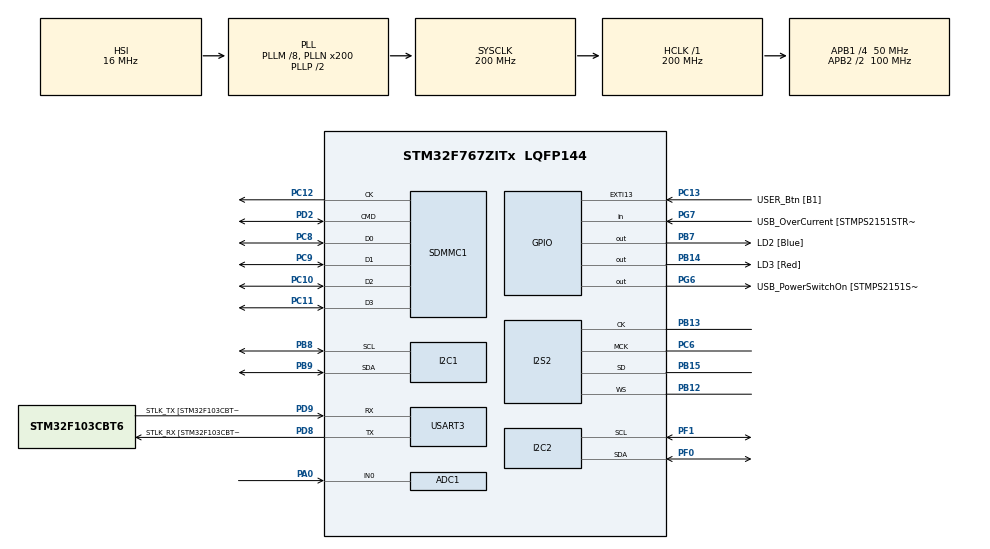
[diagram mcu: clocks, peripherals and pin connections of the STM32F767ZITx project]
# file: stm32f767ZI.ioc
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ADC1.Channel-0\#ChannelRegularConversion=ADC_CHANNEL_0
ADC1.DiscontinuousConvMode=ENABLE
ADC1.NbrOfConversionFlag=1
ADC1.Rank-0\#ChannelRegularConversion=1
ADC1.SamplingTime-0\#ChannelRegularConversion=ADC_SAMPLETIME_3CYCLES
ADC1.master=1
Dma.Request0=SPI2_TX
Dma.Request1=SDMMC1_RX
Dma.Request2=SDMMC1_TX
Dma.SDMMC1_RX.1.Direction=DMA_PERIPH_TO_MEMORY
Dma.SDMMC1_RX.1.FIFOMode=DMA_FIFOMODE_ENABLE
Dma.SDMMC1_RX.1.FIFOThreshold=DMA_FIFO_THRESHOLD_FULL
Dma.SDMMC1_RX.1.Instance=DMA2_Stream3
Dma.SDMMC1_RX.1.MemBurst=DMA_MBURST_INC4
Dma.SDMMC1_RX.1.MemDataAlignment=DMA_MDATAALIGN_WORD
Dma.SDMMC1_RX.1.MemInc=DMA_MINC_ENABLE
Dma.SDMMC1_RX.1.Mode=DMA_PFCTRL
Dma.SDMMC1_RX.1.PeriphBurst=DMA_PBURST_INC4
Dma.SDMMC1_RX.1.PeriphDataAlignment=DMA_PDATAALIGN_WORD
Dma.SDMMC1_RX.1.PeriphInc=DMA_PINC_DISABLE
Dma.SDMMC1_RX.1.Priority=DMA_PRIORITY_LOW
Dma.SDMMC1_TX.2.Direction=DMA_MEMORY_TO_PERIPH
Dma.SDMMC1_TX.2.FIFOMode=DMA_FIFOMODE_ENABLE
Dma.SDMMC1_TX.2.FIFOThreshold=DMA_FIFO_THRESHOLD_FULL
Dma.SDMMC1_TX.2.Instance=DMA2_Stream6
Dma.SDMMC1_TX.2.MemBurst=DMA_MBURST_INC4
Dma.SDMMC1_TX.2.MemDataAlignment=DMA_MDATAALIGN_WORD
Dma.SDMMC1_TX.2.MemInc=DMA_MINC_ENABLE
Dma.SDMMC1_TX.2.Mode=DMA_PFCTRL
Dma.SDMMC1_TX.2.PeriphBurst=DMA_PBURST_INC4
Dma.SDMMC1_TX.2.PeriphDataAlignment=DMA_PDATAALIGN_WORD
Dma.SDMMC1_TX.2.PeriphInc=DMA_PINC_DISABLE
Dma.SDMMC1_TX.2.Priority=DMA_PRIORITY_LOW
Dma.SPI2_TX.0.Direction=DMA_MEMORY_TO_PERIPH
Dma.SPI2_TX.0.FIFOMode=DMA_FIFOMODE_DISABLE
Dma.SPI2_TX.0.Instance=DMA1_Stream4
Dma.SPI2_TX.0.MemDataAlignment=DMA_MDATAALIGN_HALFWORD
Dma.SPI2_TX.0.MemInc=DMA_MINC_ENABLE
Dma.SPI2_TX.0.Mode=DMA_CIRCULAR
Dma.SPI2_TX.0.PeriphDataAlignment=DMA_PDATAALIGN_HALFWORD
Dma.SPI2_TX.0.PeriphInc=DMA_PINC_DISABLE
Dma.SPI2_TX.0.Priority=DMA_PRIORITY_LOW
FATFS._FS_LOCK=0
I2C1.Timing=0x00C0EAFF
I2C2.Timing=0x00C0EAFF
I2S2.AudioFreq=I2S_AUDIOFREQ_44K
I2S2.ErrorAudioFreq=-5.3 %
I2S2.FullDuplexMode=I2S_FULLDUPLEXMODE_DISABLE
I2S2.Instance=SPI$Index
I2S2.RealAudioFreq=41.666 KHz
I2S2.VirtualMode=I2S_MODE_MASTER
Mcu.Family=STM32F7
Mcu.Name=STM32F767ZITx
Mcu.Package=LQFP144
NVIC.DMA1_Stream4_IRQn=true\:0\:0\:false\:false\:true\:false
NVIC.DMA2_Stream3_IRQn=true\:0\:0\:false\:false\:true\:false
NVIC.DMA2_Stream6_IRQn=true\:0\:0\:false\:false\:true\:false
NVIC.PriorityGroup=NVIC_PRIORITYGROUP_4
NVIC.RCC_IRQn=true\:0\:0\:false\:false\:true\:true
NVIC.SDMMC1_IRQn=true\:0\:0\:false\:false\:true\:true
PA0/WKUP.Signal=ADCx_IN0
PA1.GPIO_Label=RMII_REF_CLK [LAN8742A-CZ-TR_REFCLK0]
PA1.Signal=ETH_REF_CLK
PA10.GPIO_Label=USB_ID
PA10.Signal=USB_OTG_FS_ID
PA11.GPIO_Label=USB_DM
PA11.Signal=USB_OTG_FS_DM
PA12.GPIO_Label=USB_DP
PA12.Signal=USB_OTG_FS_DP
PA13.GPIO_Label=TMS
PA13.Signal=SYS_JTMS-SWDIO
PA14.GPIO_Label=TCK
PA14.Signal=SYS_JTCK-SWCLK
PA2.GPIO_Label=RMII_MDIO [LAN8742A-CZ-TR_MDIO]
PA2.Signal=ETH_MDIO
PA7.GPIO_Label=RMII_CRS_DV [LAN8742A-CZ-TR_CRS_DV]
PA7.Signal=ETH_CRS_DV
PA8.GPIO_Label=USB_SOF [TP1]
PA8.Signal=USB_OTG_FS_SOF
PA9.GPIO_Label=USB_VBUS
PA9.Signal=USB_OTG_FS_VBUS
PB12.Mode=Half_Duplex_Master
PB12.Signal=I2S2_WS
PB13.Mode=Half_Duplex_Master
PB13.Signal=I2S2_CK
PB14.GPIO_Label=LD3 [Red]
PB14.Signal=GPIO_Output
PB15.Mode=Half_Duplex_Master
PB15.Signal=I2S2_SD
PB3.GPIO_Label=SW0
PB3.Signal=SYS_JTDO-SWO
PB7.GPIO_Label=LD2 [Blue]
PB7.Signal=GPIO_Output
PB8.Mode=I2C
PB8.Signal=I2C1_SCL
PB9.Mode=I2C
PB9.Signal=I2C1_SDA
PC1.GPIO_Label=RMII_MDC [LAN8742A-CZ-TR_MDC]
PC1.Signal=ETH_MDC
PC10.GPIO_PuPd=GPIO_PULLUP
PC10.Mode=SD_4_bits_Wide_bus
PC10.Signal=SDMMC1_D2
PC11.GPIO_PuPd=GPIO_PULLUP
PC11.Mode=SD_4_bits_Wide_bus
PC11.Signal=SDMMC1_D3
PC12.Mode=SD_4_bits_Wide_bus
PC12.Signal=SDMMC1_CK
PC13.GPIO_Label=USER_Btn [B1]
PC13.Signal=GPXTI13
PC14/OSC32_IN.Signal=RCC_OSC32_IN
PC15/OSC32_OUT.Signal=RCC_OSC32_OUT
PC4.GPIO_Label=RMII_RXD0 [LAN8742A-CZ-TR_RXD0]
PC4.Signal=ETH_RXD0
PC5.GPIO_Label=RMII_RXD1 [LAN8742A-CZ-TR_RXD1]
PC5.Signal=ETH_RXD1
PC6.Mode=Master_Clock_Activated
PC6.Signal=I2S2_MCK
PC8.GPIO_PuPd=GPIO_PULLUP
PC8.Mode=SD_4_bits_Wide_bus
PC8.Signal=SDMMC1_D0
PC9.GPIO_PuPd=GPIO_PULLUP
PC9.Mode=SD_4_bits_Wide_bus
PC9.Signal=SDMMC1_D1
PD2.GPIO_PuPd=GPIO_PULLUP
PD2.Mode=SD_4_bits_Wide_bus
PD2.Signal=SDMMC1_CMD
PD8.GPIO_Label=STLK_RX [STM32F103CBT6_PA3]
PD8.Mode=Asynchronous
PD8.Signal=USART3_TX
PD9.GPIO_Label=STLK_TX [STM32F103CBT6_PA2]
PD9.Mode=Asynchronous
PD9.Signal=USART3_RX
PF0.Mode=I2C
PF0.Signal=I2C2_SDA
PF1.Mode=I2C
PF1.Signal=I2C2_SCL
PG11.GPIO_Label=RMII_TX_EN [LAN8742A-CZ-TR_TXEN]
PG11.Signal=ETH_TX_EN
PG13.GPIO_Label=RMII_TXD0 [LAN8742A-CZ-TR_TXD0]
PG13.Signal=ETH_TXD0
PG6.GPIO_Label=USB_PowerSwitchOn [STMPS2151STR_EN]
PG6.Signal=GPIO_Output
PG7.GPIO_Label=USB_OverCurrent [STMPS2151STR_FAULT]
PG7.Signal=GPIO_Input
PH0/OSC_IN.GPIO_Label=MCO [STM32F103CBT6_PA8]
PH0/OSC_IN.Signal=RCC_OSC_IN
PH1/OSC_OUT.Signal=RCC_OSC_OUT
ProjectManager.HeapSize=0x8000
ProjectManager.StackSize=0x12000
ProjectManager.TargetToolchain=MDK-ARM V5
RCC.48MHZClocksFreq_Value=24000000
RCC.AHBFreq_Value=200000000
RCC.APB1CLKDivider=RCC_HCLK_DIV4
RCC.APB1Freq_Value=50000000
RCC.APB1TimFreq_Value=100000000
RCC.APB2CLKDivider=RCC_HCLK_DIV2
RCC.APB2Freq_Value=100000000
RCC.APB2TimFreq_Value=200000000
RCC.CortexFreq_Value=200000000
RCC.HCLKFreq_Value=200000000
RCC.HSE_VALUE=16000000
RCC.HSI_VALUE=16000000
RCC.LSE_VALUE=32768
RCC.PLLI2SN=96
RCC.PLLM=8
RCC.PLLMUL=RCC_PLL_MUL9
RCC.PLLN=200
RCC.PLLQ=10
RCC.PRESCALERUSB=RCC_USBCLKSOURCE_PLL_DIV1_5
RCC.SDMMCClockSelection=RCC_SDMMC1CLKSOURCE_CLK48
RCC.SYSCLKFreq_VALUE=200000000
RCC.SYSCLKSource=RCC_SYSCLKSOURCE_PLLCLK
RCC.SYSCLKSourceVirtual=RCC_SYSCLKSOURCE_PLLCLK
RCC.USBFreq_Value=40000000
RCC.VCOOutputFreq_Value=400000000
SH.ADCx_IN0.0=ADC1_IN0,IN0
USART3.VirtualMode-Asynchronous=VM_ASYNC
USART3.WordLength=WORDLENGTH_8B
VP_FATFS_VS_SDIO.Mode=SDIO
board=NUCLEO-F767ZI

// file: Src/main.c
/**
  ******************************************************************************
  * @file           : main.c
  * @brief          : Main program body
  ******************************************************************************
  * This notice applies to any and all portions of this file
  * that are not between comment pairs USER CODE BEGIN and
  * USER CODE END. Other portions of this file, whether
  * inserted by the user or by software development tools
  * are owned by their respective copyright owners.
  *
  * Copyright (c) 2018 STMicroelectronics International N.V.
  * All rights reserved.
  *
  * Redistribution and use in source and binary forms, with or without
  * modification, are permitted, provided that the following conditions are met:
  *
  * 1. Redistribution of source code must retain the above copyright notice,
  *    this list of conditions and the following disclaimer.
  * 2. Redistributions in binary form must reproduce the above copyright notice,
  *    this list of conditions and the following disclaimer in the documentation
  *    and/or other materials provided with the distribution.
  * 3. Neither the name of STMicroelectronics nor the names of other
  *    contributors to this software may be used to endorse or promote products
  *    derived from this software without specific written permission.
  * 4. This software, including modifications and/or derivative works of this
  *    software, must execute solely and exclusively on microcontroller or
  *    microprocessor devices manufactured by or for STMicroelectronics.
  * 5. Redistribution and use of this software other than as permitted under
  *    this license is void and will automatically terminate your rights under
  *    this license.
  *
  * THIS SOFTWARE IS PROVIDED BY STMICROELECTRONICS AND CONTRIBUTORS "AS IS"
  * AND ANY EXPRESS, IMPLIED OR STATUTORY WARRANTIES, INCLUDING, BUT NOT
  * LIMITED TO, THE IMPLIED WARRANTIES OF MERCHANTABILITY, FITNESS FOR A
  * PARTICULAR PURPOSE AND NON-INFRINGEMENT OF THIRD PARTY INTELLECTUAL PROPERTY
  * RIGHTS ARE DISCLAIMED TO THE FULLEST EXTENT PERMITTED BY LAW. IN NO EVENT
  * SHALL STMICROELECTRONICS OR CONTRIBUTORS BE LIABLE FOR ANY DIRECT, INDIRECT,
  * INCIDENTAL, SPECIAL, EXEMPLARY, OR CONSEQUENTIAL DAMAGES (INCLUDING, BUT NOT
  * LIMITED TO, PROCUREMENT OF SUBSTITUTE GOODS OR SERVICES; LOSS OF USE, DATA,
  * OR PROFITS; OR BUSINESS INTERRUPTION) HOWEVER CAUSED AND ON ANY THEORY OF
  * LIABILITY, WHETHER IN CONTRACT, STRICT LIABILITY, OR TORT (INCLUDING
  * NEGLIGENCE OR OTHERWISE) ARISING IN ANY WAY OUT OF THE USE OF THIS SOFTWARE,
  * EVEN IF ADVISED OF THE POSSIBILITY OF SUCH DAMAGE.
  *
  ******************************************************************************
  */
#include "main.h"
#include "stm32f7xx_hal.h"
#include "fatfs.h"

/* USER CODE BEGIN Includes */

//#define SD_TEST

#include "string.h"
#include "wm8978.h"
#include "mpr121.h"
#include "stdbool.h"
#include "stdint.h"
#include "wave_genout.h"
#ifdef SD_TEST
#include "SDTest.h"
#endif

/* USER CODE END Includes */

ADC_HandleTypeDef hadc1;

I2C_HandleTypeDef hi2c1;
I2C_HandleTypeDef hi2c2;

I2S_HandleTypeDef hi2s2;
DMA_HandleTypeDef hdma_spi2_tx;

SD_HandleTypeDef hsd1;
DMA_HandleTypeDef hdma_sdmmc1_rx;
DMA_HandleTypeDef hdma_sdmmc1_tx;

UART_HandleTypeDef huart3;

/* USER CODE BEGIN PV */
/* Private variables ---------------------------------------------------------*/

/* USER CODE END PV */

void SystemClock_Config(void);
static void MX_GPIO_Init(void);
static void MX_DMA_Init(void);
static void MX_I2C1_Init(void);
static void MX_I2C2_Init(void);
static void MX_I2S2_Init(void);
static void MX_SDMMC1_SD_Init(void);
static void MX_USART3_UART_Init(void);
static void MX_ADC1_Init(void);

/* USER CODE BEGIN PFP */
/* Private function prototypes -----------------------------------------------*/

/* USER CODE END PFP */

/* USER CODE BEGIN 0 */

void showInitStatus()
{
	if(initSuccess == 0)
	{
		HAL_GPIO_WritePin(LD2_GPIO_Port, LD2_Pin, GPIO_PIN_RESET);
	}
	else
	{
#ifdef __DEBUG
		printf("Init failed\r\n");
#endif
		while(1);
	}
}

/* USER CODE END 0 */

int main(void)
{

  /* MCU Configuration----------------------------------------------------------*/

  /* Reset of all peripherals, Initializes the Flash interface and the Systick. */
  HAL_Init();

  /* Configure the system clock */
  SystemClock_Config();

  /* Initialize all configured peripherals */
  MX_GPIO_Init();
  MX_DMA_Init();
  MX_I2C1_Init();
  MX_I2C2_Init();
  MX_I2S2_Init();
  MX_SDMMC1_SD_Init();
  MX_FATFS_Init();
  MX_USART3_UART_Init();
  MX_ADC1_Init();
  /* USER CODE BEGIN 2 */
	initSuccess = 0;
	HAL_GPIO_WritePin(LD2_GPIO_Port, LD2_Pin, GPIO_PIN_SET);

#ifdef __DEBUG
  printf("start ----------------> \r\n");
#endif

  HAL_StatusTypeDef res = HAL_I2C_IsDeviceReady(&hi2c1, (WM8978_ADDR<<1), 2, 1000);
  if(res != HAL_OK)
  {
#ifdef __DEBUG
    printf("I2C did not ready[%d]!\r\n", res);
#endif
		initSuccess = 1;
  }
  else
  {
#ifdef __DEBUG
    printf("I2C device ready ok[%X]\r\n", WM8978_ADDR);
#endif
  }

  UINT r1 = WM8978_Init();

   if(r1 != 0){
		 initSuccess = 1;
#ifdef __DEBUG
		 printf("WM8978_Init failed:%d\r\n",r1);
#endif
	 }

  mpr121_init();
  //TestMpr121();

	if(retSD == 0){
/* success: set the orange LED on */
#ifdef __DEBUG
		printf("MX_FATFS_Init OK\r\n");
#endif
/*##-2- Register the file system object to the FatFs module ###*/
		if(f_mount(&SDFatFS, (TCHAR const*)SDPath, 0) != FR_OK)
		{
/* FatFs Initialization Error : set the red LED on */
#ifdef __DEBUG
			printf("f_mount failed\r\n");
#endif
			initSuccess = 1;
			while(1);
		}

	} else {
#ifdef __DEBUG
		printf("MX_FATFS_Init failed\r\n");
#endif
		initSuccess = 1;
	}

#ifdef SD_TEST
#ifdef __DEBUG
	printf("SD Test  with file START\r\n");
#endif
	SDTestStart();
#ifdef __DEBUG
	printf("SD Test  with file END\r\n");
#endif
	while(1);
#else

	PlayWaveData();
#endif
  /* USER CODE END 2 */

  /* Infinite loop */
  while (1)
  {

  }

}

void SystemClock_Config(void)
{

  RCC_OscInitTypeDef RCC_OscInitStruct;
  RCC_ClkInitTypeDef RCC_ClkInitStruct;
  RCC_PeriphCLKInitTypeDef PeriphClkInitStruct;

    /**Configure the main internal regulator output voltage
    */
  __HAL_RCC_PWR_CLK_ENABLE();

  __HAL_PWR_VOLTAGESCALING_CONFIG(PWR_REGULATOR_VOLTAGE_SCALE1);

    /**Initializes the CPU, AHB and APB busses clocks
    */
  RCC_OscInitStruct.OscillatorType = RCC_OSCILLATORTYPE_HSI;
  RCC_OscInitStruct.HSIState = RCC_HSI_ON;
  RCC_OscInitStruct.HSICalibrationValue = 16;
  RCC_OscInitStruct.PLL.PLLState = RCC_PLL_ON;
  RCC_OscInitStruct.PLL.PLLSource = RCC_PLLSOURCE_HSI;
  RCC_OscInitStruct.PLL.PLLM = 8;
  RCC_OscInitStruct.PLL.PLLN = 200;
  RCC_OscInitStruct.PLL.PLLP = RCC_PLLP_DIV2;
  RCC_OscInitStruct.PLL.PLLQ = 10;
  if (HAL_RCC_OscConfig(&RCC_OscInitStruct) != HAL_OK)
  {
    _Error_Handler(__FILE__, __LINE__);
  }

    /**Activate the Over-Drive mode
    */
  if (HAL_PWREx_EnableOverDrive() != HAL_OK)
  {
    _Error_Handler(__FILE__, __LINE__);
  }

    /**Initializes the CPU, AHB and APB busses clocks
    */
  RCC_ClkInitStruct.ClockType = RCC_CLOCKTYPE_HCLK|RCC_CLOCKTYPE_SYSCLK
                              |RCC_CLOCKTYPE_PCLK1|RCC_CLOCKTYPE_PCLK2;
  RCC_ClkInitStruct.SYSCLKSource = RCC_SYSCLKSOURCE_PLLCLK;
  RCC_ClkInitStruct.AHBCLKDivider = RCC_SYSCLK_DIV1;
  RCC_ClkInitStruct.APB1CLKDivider = RCC_HCLK_DIV4;
  RCC_ClkInitStruct.APB2CLKDivider = RCC_HCLK_DIV2;

  if (HAL_RCC_ClockConfig(&RCC_ClkInitStruct, FLASH_LATENCY_6) != HAL_OK)
  {
    _Error_Handler(__FILE__, __LINE__);
  }

  PeriphClkInitStruct.PeriphClockSelection = RCC_PERIPHCLK_USART3|RCC_PERIPHCLK_I2C1
                              |RCC_PERIPHCLK_I2C2|RCC_PERIPHCLK_SDMMC1
                              |RCC_PERIPHCLK_I2S|RCC_PERIPHCLK_CLK48;
  PeriphClkInitStruct.PLLI2S.PLLI2SN = 96;
  PeriphClkInitStruct.PLLI2S.PLLI2SP = RCC_PLLP_DIV2;
  PeriphClkInitStruct.PLLI2S.PLLI2SR = 2;
  PeriphClkInitStruct.PLLI2S.PLLI2SQ = 2;
  PeriphClkInitStruct.PLLI2SDivQ = 1;
  PeriphClkInitStruct.I2sClockSelection = RCC_I2SCLKSOURCE_PLLI2S;
  PeriphClkInitStruct.Usart3ClockSelection = RCC_USART3CLKSOURCE_PCLK1;
  PeriphClkInitStruct.I2c1ClockSelection = RCC_I2C1CLKSOURCE_PCLK1;
  PeriphClkInitStruct.I2c2ClockSelection = RCC_I2C2CLKSOURCE_PCLK1;
  PeriphClkInitStruct.Clk48ClockSelection = RCC_CLK48SOURCE_PLL;
  PeriphClkInitStruct.Sdmmc1ClockSelection = RCC_SDMMC1CLKSOURCE_CLK48;
  if (HAL_RCCEx_PeriphCLKConfig(&PeriphClkInitStruct) != HAL_OK)
  {
    _Error_Handler(__FILE__, __LINE__);
  }

    /**Configure the Systick interrupt time
    */
  HAL_SYSTICK_Config(HAL_RCC_GetHCLKFreq()/1000);

    /**Configure the Systick
    */
  HAL_SYSTICK_CLKSourceConfig(SYSTICK_CLKSOURCE_HCLK);

  /* SysTick_IRQn interrupt configuration */
  HAL_NVIC_SetPriority(SysTick_IRQn, 0, 0);
}

/* ADC1 init function */
static void MX_ADC1_Init(void)
{

  ADC_ChannelConfTypeDef sConfig;

    /**Configure the global features of the ADC (Clock, Resolution, Data Alignment and number of conversion)
    */
  hadc1.Instance = ADC1;
  hadc1.Init.ClockPrescaler = ADC_CLOCK_SYNC_PCLK_DIV4;
  hadc1.Init.Resolution = ADC_RESOLUTION_12B;
  hadc1.Init.ScanConvMode = DISABLE;
  hadc1.Init.ContinuousConvMode = DISABLE;
  hadc1.Init.DiscontinuousConvMode = ENABLE;
  hadc1.Init.NbrOfDiscConversion = 1;
  hadc1.Init.ExternalTrigConvEdge = ADC_EXTERNALTRIGCONVEDGE_NONE;
  hadc1.Init.ExternalTrigConv = ADC_SOFTWARE_START;
  hadc1.Init.DataAlign = ADC_DATAALIGN_RIGHT;
  hadc1.Init.NbrOfConversion = 1;
  hadc1.Init.DMAContinuousRequests = DISABLE;
  hadc1.Init.EOCSelection = ADC_EOC_SINGLE_CONV;
  if (HAL_ADC_Init(&hadc1) != HAL_OK)
  {
    _Error_Handler(__FILE__, __LINE__);
  }

    /**Configure for the selected ADC regular channel its corresponding rank in the sequencer and its sample time.
    */
  sConfig.Channel = ADC_CHANNEL_0;
  sConfig.Rank = ADC_REGULAR_RANK_1;
  sConfig.SamplingTime = ADC_SAMPLETIME_3CYCLES;
  if (HAL_ADC_ConfigChannel(&hadc1, &sConfig) != HAL_OK)
  {
    _Error_Handler(__FILE__, __LINE__);
  }

}

/* I2C1 init function */
static void MX_I2C1_Init(void)
{

  hi2c1.Instance = I2C1;
  hi2c1.Init.Timing = 0x00C0EAFF;
  hi2c1.Init.OwnAddress1 = 0;
  hi2c1.Init.AddressingMode = I2C_ADDRESSINGMODE_7BIT;
  hi2c1.Init.DualAddressMode = I2C_DUALADDRESS_DISABLE;
  hi2c1.Init.OwnAddress2 = 0;
  hi2c1.Init.OwnAddress2Masks = I2C_OA2_NOMASK;
  hi2c1.Init.GeneralCallMode = I2C_GENERALCALL_DISABLE;
  hi2c1.Init.NoStretchMode = I2C_NOSTRETCH_DISABLE;
  if (HAL_I2C_Init(&hi2c1) != HAL_OK)
  {
    _Error_Handler(__FILE__, __LINE__);
  }

    /**Configure Analogue filter
    */
  if (HAL_I2CEx_ConfigAnalogFilter(&hi2c1, I2C_ANALOGFILTER_ENABLE) != HAL_OK)
  {
    _Error_Handler(__FILE__, __LINE__);
  }

    /**Configure Digital filter
    */
  if (HAL_I2CEx_ConfigDigitalFilter(&hi2c1, 0) != HAL_OK)
  {
    _Error_Handler(__FILE__, __LINE__);
  }

}

/* I2C2 init function */
static void MX_I2C2_Init(void)
{

  hi2c2.Instance = I2C2;
  hi2c2.Init.Timing = 0x00C0EAFF;
  hi2c2.Init.OwnAddress1 = 0;
  hi2c2.Init.AddressingMode = I2C_ADDRESSINGMODE_7BIT;
  hi2c2.Init.DualAddressMode = I2C_DUALADDRESS_DISABLE;
  hi2c2.Init.OwnAddress2 = 0;
  hi2c2.Init.OwnAddress2Masks = I2C_OA2_NOMASK;
  hi2c2.Init.GeneralCallMode = I2C_GENERALCALL_DISABLE;
  hi2c2.Init.NoStretchMode = I2C_NOSTRETCH_DISABLE;
  if (HAL_I2C_Init(&hi2c2) != HAL_OK)
  {
    _Error_Handler(__FILE__, __LINE__);
  }

    /**Configure Analogue filter
    */
  if (HAL_I2CEx_ConfigAnalogFilter(&hi2c2, I2C_ANALOGFILTER_ENABLE) != HAL_OK)
  {
    _Error_Handler(__FILE__, __LINE__);
  }

    /**Configure Digital filter
    */
  if (HAL_I2CEx_ConfigDigitalFilter(&hi2c2, 0) != HAL_OK)
  {
    _Error_Handler(__FILE__, __LINE__);
  }

}

/* I2S2 init function */
static void MX_I2S2_Init(void)
{

  hi2s2.Instance = SPI2;
  hi2s2.Init.Mode = I2S_MODE_MASTER_TX;
  hi2s2.Init.Standard = I2S_STANDARD_PHILIPS;
  hi2s2.Init.DataFormat = I2S_DATAFORMAT_16B;
  hi2s2.Init.MCLKOutput = I2S_MCLKOUTPUT_ENABLE;
  hi2s2.Init.AudioFreq = I2S_AUDIOFREQ_44K;
  hi2s2.Init.CPOL = I2S_CPOL_LOW;
  hi2s2.Init.ClockSource = I2S_CLOCK_PLL;
  if (HAL_I2S_Init(&hi2s2) != HAL_OK)
  {
    _Error_Handler(__FILE__, __LINE__);
  }

}

/* SDMMC1 init function */
static void MX_SDMMC1_SD_Init(void)
{

  hsd1.Instance = SDMMC1;
  hsd1.Init.ClockEdge = SDMMC_CLOCK_EDGE_RISING;
  hsd1.Init.ClockBypass = SDMMC_CLOCK_BYPASS_DISABLE;
  hsd1.Init.ClockPowerSave = SDMMC_CLOCK_POWER_SAVE_DISABLE;
  hsd1.Init.BusWide = SDMMC_BUS_WIDE_1B;
  hsd1.Init.HardwareFlowControl = SDMMC_HARDWARE_FLOW_CONTROL_DISABLE;
  hsd1.Init.ClockDiv = 0;

}

/* USART3 init function */
static void MX_USART3_UART_Init(void)
{

  huart3.Instance = USART3;
  huart3.Init.BaudRate = 115200;
  huart3.Init.WordLength = UART_WORDLENGTH_8B;
  huart3.Init.StopBits = UART_STOPBITS_1;
  huart3.Init.Parity = UART_PARITY_NONE;
  huart3.Init.Mode = UART_MODE_TX_RX;
  huart3.Init.HwFlowCtl = UART_HWCONTROL_NONE;
  huart3.Init.OverSampling = UART_OVERSAMPLING_16;
  huart3.Init.OneBitSampling = UART_ONE_BIT_SAMPLE_DISABLE;
  huart3.AdvancedInit.AdvFeatureInit = UART_ADVFEATURE_NO_INIT;
  if (HAL_UART_Init(&huart3) != HAL_OK)
  {
    _Error_Handler(__FILE__, __LINE__);
  }

}

static void MX_DMA_Init(void)
{
  /* DMA controller clock enable */
  __HAL_RCC_DMA1_CLK_ENABLE();
  __HAL_RCC_DMA2_CLK_ENABLE();

  /* DMA interrupt init */
  /* DMA1_Stream4_IRQn interrupt configuration */
  HAL_NVIC_SetPriority(DMA1_Stream4_IRQn, 0, 0);
  HAL_NVIC_EnableIRQ(DMA1_Stream4_IRQn);
  /* DMA2_Stream3_IRQn interrupt configuration */
  HAL_NVIC_SetPriority(DMA2_Stream3_IRQn, 0, 0);
  HAL_NVIC_EnableIRQ(DMA2_Stream3_IRQn);
  /* DMA2_Stream6_IRQn interrupt configuration */
  HAL_NVIC_SetPriority(DMA2_Stream6_IRQn, 0, 0);
  HAL_NVIC_EnableIRQ(DMA2_Stream6_IRQn);

}

/** Configure pins as
        * Analog
        * Input
        * Output
        * EVENT_OUT
        * EXTI
     PC1   ------> ETH_MDC
     PA1   ------> ETH_REF_CLK
     PA2   ------> ETH_MDIO
     PA7   ------> ETH_CRS_DV
     PC4   ------> ETH_RXD0
     PC5   ------> ETH_RXD1
     PA8   ------> USB_OTG_FS_SOF
     PA9   ------> USB_OTG_FS_VBUS
     PA10   ------> USB_OTG_FS_ID
     PA11   ------> USB_OTG_FS_DM
     PA12   ------> USB_OTG_FS_DP
     PG11   ------> ETH_TX_EN
     PG13   ------> ETH_TXD0
*/
static void MX_GPIO_Init(void)
{

  GPIO_InitTypeDef GPIO_InitStruct;

  /* GPIO Ports Clock Enable */
  __HAL_RCC_GPIOC_CLK_ENABLE();
  __HAL_RCC_GPIOF_CLK_ENABLE();
  __HAL_RCC_GPIOH_CLK_ENABLE();
  __HAL_RCC_GPIOA_CLK_ENABLE();
  __HAL_RCC_GPIOB_CLK_ENABLE();
  __HAL_RCC_GPIOD_CLK_ENABLE();
  __HAL_RCC_GPIOG_CLK_ENABLE();

  /*Configure GPIO pin Output Level */
  HAL_GPIO_WritePin(GPIOB, LD3_Pin|LD2_Pin, GPIO_PIN_RESET);

  /*Configure GPIO pin Output Level */
  HAL_GPIO_WritePin(USB_PowerSwitchOn_GPIO_Port, USB_PowerSwitchOn_Pin, GPIO_PIN_RESET);

  /*Configure GPIO pin : USER_Btn_Pin */
  GPIO_InitStruct.Pin = USER_Btn_Pin;
  GPIO_InitStruct.Mode = GPIO_MODE_IT_RISING;
  GPIO_InitStruct.Pull = GPIO_NOPULL;
  HAL_GPIO_Init(USER_Btn_GPIO_Port, &GPIO_InitStruct);

  /*Configure GPIO pins : RMII_MDC_Pin RMII_RXD0_Pin RMII_RXD1_Pin */
  GPIO_InitStruct.Pin = RMII_MDC_Pin|RMII_RXD0_Pin|RMII_RXD1_Pin;
  GPIO_InitStruct.Mode = GPIO_MODE_AF_PP;
  GPIO_InitStruct.Pull = GPIO_NOPULL;
  GPIO_InitStruct.Speed = GPIO_SPEED_FREQ_VERY_HIGH;
  GPIO_InitStruct.Alternate = GPIO_AF11_ETH;
  HAL_GPIO_Init(GPIOC, &GPIO_InitStruct);

  /*Configure GPIO pins : RMII_REF_CLK_Pin RMII_MDIO_Pin RMII_CRS_DV_Pin */
  GPIO_InitStruct.Pin = RMII_REF_CLK_Pin|RMII_MDIO_Pin|RMII_CRS_DV_Pin;
  GPIO_InitStruct.Mode = GPIO_MODE_AF_PP;
  GPIO_InitStruct.Pull = GPIO_NOPULL;
  GPIO_InitStruct.Speed = GPIO_SPEED_FREQ_VERY_HIGH;
  GPIO_InitStruct.Alternate = GPIO_AF11_ETH;
  HAL_GPIO_Init(GPIOA, &GPIO_InitStruct);

  /*Configure GPIO pins : LD3_Pin LD2_Pin */
  GPIO_InitStruct.Pin = LD3_Pin|LD2_Pin;
  GPIO_InitStruct.Mode = GPIO_MODE_OUTPUT_PP;
  GPIO_InitStruct.Pull = GPIO_NOPULL;
  GPIO_InitStruct.Speed = GPIO_SPEED_FREQ_LOW;
  HAL_GPIO_Init(GPIOB, &GPIO_InitStruct);

  /*Configure GPIO pin : USB_PowerSwitchOn_Pin */
  GPIO_InitStruct.Pin = USB_PowerSwitchOn_Pin;
  GPIO_InitStruct.Mode = GPIO_MODE_OUTPUT_PP;
  GPIO_InitStruct.Pull = GPIO_NOPULL;
  GPIO_InitStruct.Speed = GPIO_SPEED_FREQ_LOW;
  HAL_GPIO_Init(USB_PowerSwitchOn_GPIO_Port, &GPIO_InitStruct);

  /*Configure GPIO pin : USB_OverCurrent_Pin */
  GPIO_InitStruct.Pin = USB_OverCurrent_Pin;
  GPIO_InitStruct.Mode = GPIO_MODE_INPUT;
  GPIO_InitStruct.Pull = GPIO_NOPULL;
  HAL_GPIO_Init(USB_OverCurrent_GPIO_Port, &GPIO_InitStruct);

  /*Configure GPIO pins : USB_SOF_Pin USB_ID_Pin USB_DM_Pin USB_DP_Pin */
  GPIO_InitStruct.Pin = USB_SOF_Pin|USB_ID_Pin|USB_DM_Pin|USB_DP_Pin;
  GPIO_InitStruct.Mode = GPIO_MODE_AF_PP;
  GPIO_InitStruct.Pull = GPIO_NOPULL;
  GPIO_InitStruct.Speed = GPIO_SPEED_FREQ_VERY_HIGH;
  GPIO_InitStruct.Alternate = GPIO_AF10_OTG_FS;
  HAL_GPIO_Init(GPIOA, &GPIO_InitStruct);

  /*Configure GPIO pin : USB_VBUS_Pin */
  GPIO_InitStruct.Pin = USB_VBUS_Pin;
  GPIO_InitStruct.Mode = GPIO_MODE_INPUT;
  GPIO_InitStruct.Pull = GPIO_NOPULL;
  HAL_GPIO_Init(USB_VBUS_GPIO_Port, &GPIO_InitStruct);

  /*Configure GPIO pins : RMII_TX_EN_Pin RMII_TXD0_Pin */
  GPIO_InitStruct.Pin = RMII_TX_EN_Pin|RMII_TXD0_Pin;
  GPIO_InitStruct.Mode = GPIO_MODE_AF_PP;
  GPIO_InitStruct.Pull = GPIO_NOPULL;
  GPIO_InitStruct.Speed = GPIO_SPEED_FREQ_VERY_HIGH;
  GPIO_InitStruct.Alternate = GPIO_AF11_ETH;
  HAL_GPIO_Init(GPIOG, &GPIO_InitStruct);

}

/* USER CODE BEGIN 4 */
int fputc(int ch, FILE *f)
//int stdout_putchar(int ch, FILE *f)
{
  HAL_UART_Transmit(&huart3, (uint8_t *)&ch, 1, 0xFFFF);
  return ch;
}
/* USER CODE END 4 */

void _Error_Handler(char *file, int line)
{
  while(1)
  {
  }
}

/************************ (C) COPYRIGHT STMicroelectronics *****END OF FILE****/
